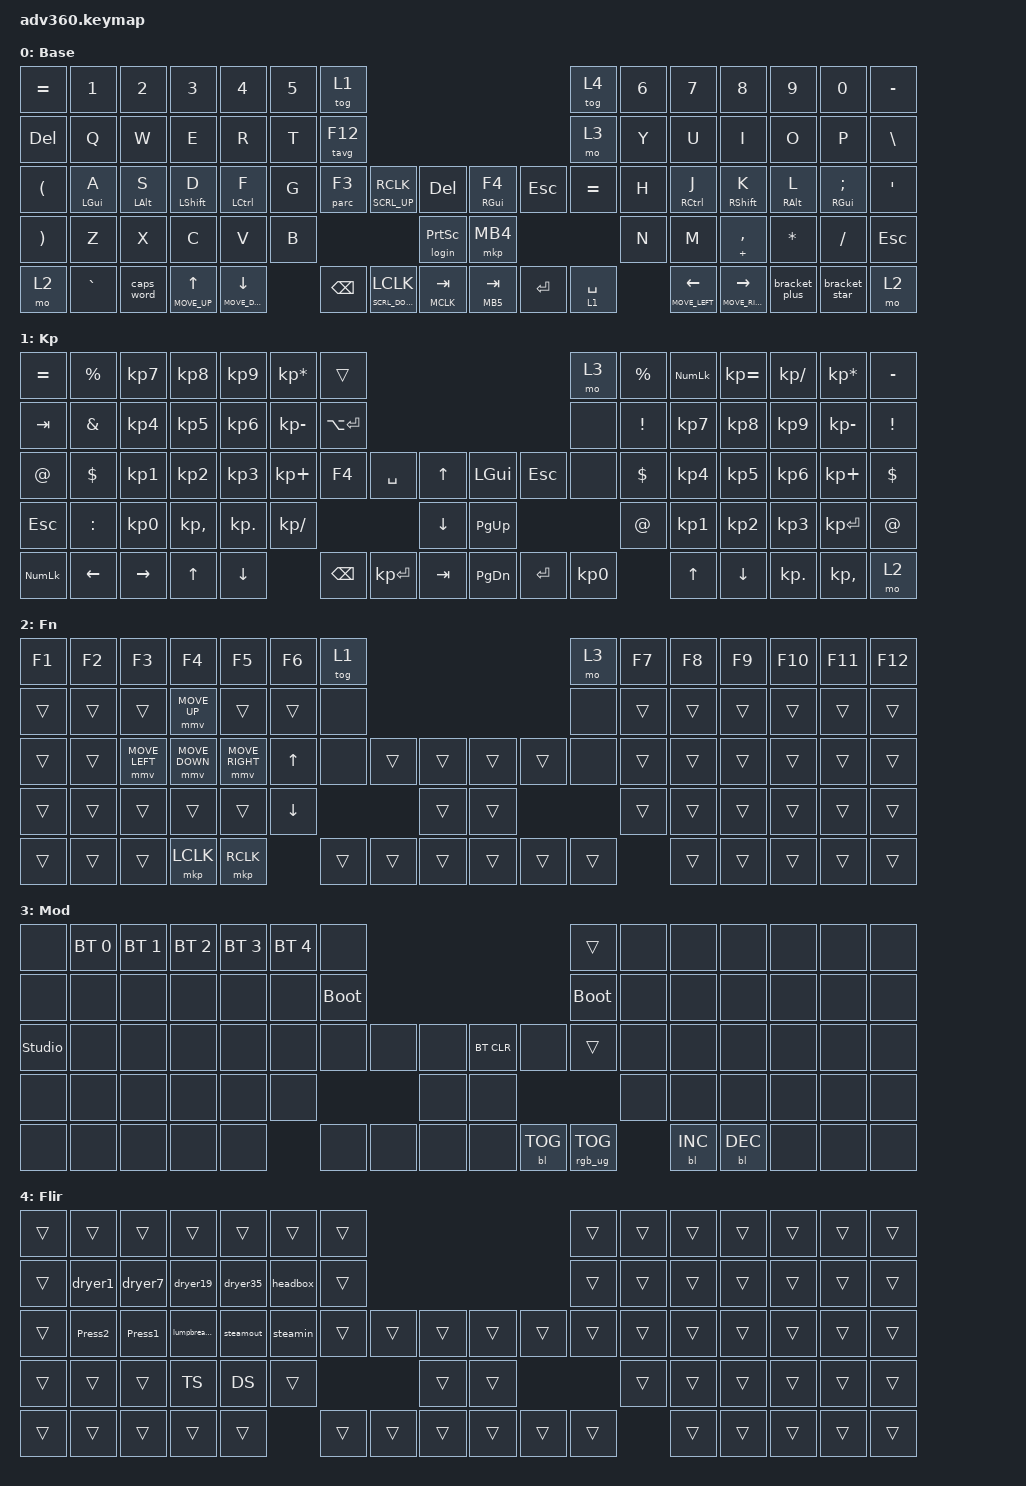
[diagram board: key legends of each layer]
#include <dt-bindings/zmk/stp.h>
#include <behaviors.dtsi>
#include <dt-bindings/zmk/backlight.h>
#include <dt-bindings/zmk/bt.h>
#include <dt-bindings/zmk/keys.h>
#include <dt-bindings/zmk/pointing.h>
#include <dt-bindings/zmk/rgb.h>

/ {
    macros {
        login: login {
            compatible = "zmk,behavior-macro";
            #binding-cells = <0>;
            bindings = <&kp LA(LC(DELETE))>;
            label = "LOGIN";
        };

        dryerDrives: dryerDrives {
            compatible = "zmk,behavior-macro";
            #binding-cells = <0>;
            bindings = <&kp N3 &kp N2 &kp COMMA &kp SPACE &kp N3 &kp N3 &kp COMMA &kp SPACE &kp N3 &kp N4 &kp COMMA &kp SPACE &kp N3 &kp N5>;
            label = "DRYERDRIVES";
        };

        wetEnd: wetEnd {
            compatible = "zmk,behavior-macro";
            #binding-cells = <0>;
            bindings = <&kp N3 &kp COMMA &kp SPACE &kp N4 &kp COMMA &kp SPACE &kp N5 &kp COMMA &kp SPACE &kp N1 &kp N0>;
            label = "WETEND";
        };

        ropeSheave: ropeSheave {
            compatible = "zmk,behavior-macro";
            #binding-cells = <0>;
            bindings = <&kp N1 &kp N0 &kp COMMA &kp SPACE &kp N2 &kp N0 &kp COMMA &kp SPACE &kp N3>;
            label = "ROPESHEAVE";
        };

        lube: lube {
            compatible = "zmk,behavior-macro";
            #binding-cells = <0>;
            bindings = <&kp N3 &kp COMMA &kp SPACE &kp N1 &kp N0 &kp COMMA &kp SPACE &kp N2 &kp N0>;
            label = "LUBE";
        };

        parc: parc {
            compatible = "zmk,behavior-macro";
            #binding-cells = <0>;
            bindings = <&kp F &kp I &kp L &kp DOT &kp P &kp I &kp DOT &kp M &kp N2 &kp COLON>;
            label = "PARC";
        };

        tavg: tavg {
            compatible = "zmk,behavior-macro";
            #binding-cells = <0>;
            bindings = <&kp T &kp A &kp V &kp G &kp EQUAL &kp N1 &kp N5 &kp M>;
            label = "TAVG";
        };

        TS: TS {
            compatible = "zmk,behavior-macro";
            #binding-cells = <0>;
            bindings = <&kp LS(T) &kp LS(S)>;
            label = "TS";
        };

        DS: DS {
            compatible = "zmk,behavior-macro";
            #binding-cells = <0>;
            bindings = <&kp LS(D) &kp LS(S)>;
            label = "DS";
        };

        Press1: Press1 {
            compatible = "zmk,behavior-macro";
            #binding-cells = <0>;
            bindings = <&kp N1 &kp S &kp T &kp SPACE &kp LS(P) &kp R &kp E &kp S &kp S &kp SPACE>;
            label = "PRESS1";
        };

        Press2: Press2 {
            compatible = "zmk,behavior-macro";
            #binding-cells = <0>;
            bindings = <&kp N2 &kp N &kp D &kp SPACE &kp LS(P) &kp R &kp E &kp S &kp S &kp SPACE>;
            label = "PRESS2";
        };

        lumpbreaker: lumpbreaker {
            compatible = "zmk,behavior-macro";
            #binding-cells = <0>;
            bindings = <&kp LS(L) &kp U &kp M &kp P &kp SPACE &kp LS(B) &kp R &kp E &kp A &kp K &kp E &kp R &kp SPACE>;
            label = "LUMPBREAKER";
        };

        steamin: steamin {
            compatible = "zmk,behavior-macro";
            #binding-cells = <0>;
            bindings = <&kp LS(S) &kp T &kp E &kp A &kp M &kp SPACE &kp LS(B) &kp O &kp X &kp SPACE &kp LS(I) &kp N &kp SPACE>;
            label = "STEAMIN";
        };

        steamout: steamout {
            compatible = "zmk,behavior-macro";
            #binding-cells = <0>;
            bindings = <&kp LS(S) &kp T &kp E &kp A &kp M &kp SPACE &kp LS(B) &kp O &kp X &kp SPACE &kp LS(O) &kp U &kp T &kp SPACE>;
            label = "STEAMOUT";
        };

        headbox: headbox {
            compatible = "zmk,behavior-macro";
            #binding-cells = <0>;
            bindings = <&kp LS(H) &kp E &kp A &kp D &kp SPACE &kp LS(B) &kp O &kp X &kp SPACE>;
            label = "HEADBOX";
        };

        dryer1: dryer1 {
            compatible = "zmk,behavior-macro";
            #binding-cells = <0>;
            bindings = <&kp LS(D) &kp R &kp Y &kp E &kp R &kp SPACE &kp LS(C) &kp A &kp N &kp SPACE &kp POUND &kp N1 &kp SPACE &kp F &kp R &kp O &kp M &kp SPACE &kp LS(T) &kp LS(S)>;
            label = "DRYER1";
        };

        dryer7: dryer7 {
            compatible = "zmk,behavior-macro";
            #binding-cells = <0>;
            bindings = <&kp LS(D) &kp R &kp Y &kp E &kp R &kp SPACE &kp LS(C) &kp A &kp N &kp SPACE &kp POUND &kp N7 &kp SPACE &kp F &kp R &kp O &kp M &kp SPACE &kp LS(T) &kp LS(S)>;
            label = "DRYER7";
        };

        dryer19: dryer19 {
            compatible = "zmk,behavior-macro";
            #binding-cells = <0>;
            bindings = <&kp LS(D) &kp R &kp Y &kp E &kp R &kp SPACE &kp LS(C) &kp A &kp N &kp SPACE &kp POUND &kp N1 &kp N9 &kp SPACE &kp F &kp R &kp O &kp M &kp SPACE &kp LS(T) &kp LS(S)>;
            label = "DRYER19";
        };

        dryer35: dryer35 {
            compatible = "zmk,behavior-macro";
            #binding-cells = <0>;
            bindings = <&kp LS(D) &kp R &kp Y &kp E &kp R &kp SPACE &kp LS(C) &kp A &kp N &kp SPACE &kp POUND &kp N3 &kp N5 &kp SPACE &kp F &kp R &kp O &kp M &kp SPACE &kp LS(D) &kp LS(S)>;
            label = "DRYER35";
        };
    };

    behaviors {
        #include "macros.dtsi"
          #include "version.dtsi"

        hm: homerow_mods {
            compatible = "zmk,behavior-hold-tap";
            label = "HOMEROW_MODS";
            #binding-cells = <2>;
            tapping-term-ms = <200>;
            quick_tap_ms = <175>;
            flavor = "tap-preferred";
            bindings = <&kp>, <&kp>;
        };

        holdlogin: holdlogin {
            compatible = "zmk,behavior-hold-tap";
            label = "HOLDLOGIN";
            bindings = <&login>, <&kp>;

            #binding-cells = <2>;
            tapping-term-ms = <200>;
        };

        msmv: moused_mv_kp {
            compatible = "zmk,behavior-hold-tap";
            label = "mouse_mv_kp";
            bindings = <&mmv>, <&kp>;

            #binding-cells = <2>;
            tapping-term-ms = <250>;
        };

        msscrl: msscrl {
            compatible = "zmk,behavior-hold-tap";
            label = "MSSCRL";
            bindings = <&msc>, <&mkp>;

            #binding-cells = <2>;
            tapping-term-ms = <250>;
        };

        holdtavg: holdtavg {
            compatible = "zmk,behavior-hold-tap";
            label = "HOLDTAVG";
            bindings = <&tavg>, <&kp>;

            #binding-cells = <2>;
            tapping-term-ms = <250>;
        };

        holdparc: holdparc {
            compatible = "zmk,behavior-hold-tap";
            label = "HOLDPARC";
            bindings = <&parc>, <&kp>;

            #binding-cells = <2>;
            tapping-term-ms = <250>;
        };

        mskp: mouse_kp {
            compatible = "zmk,behavior-hold-tap";
            label = "Mouse_kp";
            bindings = <&mkp>, <&kp>;

            #binding-cells = <2>;
            tapping-term-ms = <250>;
        };

        bracket_plus: bracket_plus {
            compatible = "zmk,behavior-mod-morph";
            label = "BRACKET_PLUS";
            bindings = <&kp LEFT_BRACKET>, <&kp PLUS>;

            #binding-cells = <0>;
            mods = <(MOD_LCTL)>;
        };

        bracket_star: bracket_star {
            compatible = "zmk,behavior-mod-morph";
            label = "BRACKET_STAR";
            bindings = <&kp RIGHT_BRACKET>, <&kp STAR>;

            #binding-cells = <0>;
            mods = <(MOD_LCTL)>;
        };
    };

    keymap {
        compatible = "zmk,keymap";

        default_layer {
            display-name = "Base";
            bindings = <
&kp EQUAL              &kp N1          &kp N2          &kp N3                  &kp N4                      &kp N5  &tog 1                                                                                               &tog 4       &kp N6  &kp N7                      &kp N8                  &kp N9           &kp N0              &kp MINUS
&kp DELETE             &kp Q           &kp W           &kp E                   &kp R                       &kp T   &holdtavg 0 F12                                                                                      &mo 3        &kp Y   &kp U                       &kp I                   &kp O            &kp P               &kp BSLH
&kp LEFT_PARENTHESIS   &hm LEFT_GUI A  &hm LEFT_ALT S  &hm LEFT_SHIFT D        &hm LEFT_CONTROL F          &kp G   &holdparc 0 F3   &msscrl SCRL_UP RCLK    &kp DELETE                    &hm RIGHT_GUI F4  &kp ESCAPE  &kp EQUAL    &kp H   &hm RIGHT_CONTROL J         &hm RIGHT_SHIFT K       &hm RIGHT_ALT L  &hm RIGHT_GUI SEMI  &kp SQT
&kp RIGHT_PARENTHESIS  &kp Z           &kp X           &kp C                   &kp V                       &kp B                                            &holdlogin 0 PRINTSCREEN      &mkp MB4                                   &kp N   &kp M                       &hm PLUS COMMA          &kp STAR         &kp FSLH            &kp ESCAPE
&mo 2                  &kp GRAVE       &caps_word      &msmv MOVE_UP UP_ARROW  &msmv MOVE_DOWN DOWN_ARROW          &kp BACKSPACE    &msscrl SCRL_DOWN LCLK  &mskp MCLK TAB                &mskp MB5 TAB     &kp ENTER   &lt 1 SPACE          &msmv MOVE_LEFT LEFT_ARROW  &msmv MOVE_RIGHT RIGHT  &bracket_plus    &bracket_star       &mo 2
            >;
        };

        keypad {
            display-name = "Kp";
            bindings = <
&kp EQUAL       &kp PERCENT     &kp KP_N7        &kp KP_N8     &kp KP_NUMBER_9  &kp KP_MULTIPLY  &trans                                                                  &mo 3      &kp PERCENT      &kp KP_NUM  &kp KP_EQUAL  &kp KP_DIVIDE  &kp KP_MULTIPLY  &kp MINUS
&kp TAB         &kp AMPERSAND   &kp KP_NUMBER_4  &kp KP_N5     &kp KP_N6        &kp KP_MINUS     &kp LA(ENTER)                                                           &none      &kp EXCLAMATION  &kp KP_N7   &kp KP_N8     &kp KP_N9      &kp KP_MINUS     &kp EXCL
&kp AT_SIGN     &kp DOLLAR      &kp KP_N1        &kp KP_N2     &kp KP_N3        &kp KP_PLUS      &kp F4         &kp SPACE     &kp UP_ARROW        &kp LGUI   &kp ESCAPE  &none      &kp DOLLAR       &kp KP_N4   &kp KP_N5     &kp KP_N6      &kp KP_PLUS      &kp DOLLAR
&kp ESC         &kp COLON       &kp KP_N0        &kp KP_COMMA  &kp KP_DOT       &kp KP_SLASH                                  &kp DOWN_ARROW      &kp PG_UP                         &kp AT_SIGN      &kp KP_N1   &kp KP_N2     &kp KP_N3      &kp KP_ENTER     &kp AT
&kp KP_NUMLOCK  &kp LEFT_ARROW  &kp RIGHT_ARROW  &kp UP_ARROW  &kp DOWN                          &kp BSPC       &kp KP_ENTER  &kp TAB             &kp PG_DN  &kp ENTER   &kp KP_N0                   &kp UP      &kp DOWN      &kp KP_DOT     &kp KP_COMMA     &mo 2
            >;
        };

        fn {
            display-name = "Fn";
            bindings = <
&kp F1  &kp F2  &kp F3          &kp F4          &kp F5           &kp F6    &tog 1                                      &mo 3   &kp F7  &kp F8  &kp F9  &kp F10  &kp F11  &kp F12
&trans  &trans  &trans          &mmv MOVE_UP    &trans           &trans    &none                                       &none   &trans  &trans  &trans  &trans   &trans   &trans
&trans  &trans  &mmv MOVE_LEFT  &mmv MOVE_DOWN  &mmv MOVE_RIGHT  &kp UP    &none   &trans  &trans      &trans  &trans  &none   &trans  &trans  &trans  &trans   &trans   &trans
&trans  &trans  &trans          &trans          &trans           &kp DOWN                  &trans      &trans                  &trans  &trans  &trans  &trans   &trans   &trans
&trans  &trans  &trans          &mkp LCLK       &mkp RCLK                  &trans  &trans  &trans      &trans  &trans  &trans          &trans  &trans  &trans   &trans   &trans
            >;
        };

        mod {
            display-name = "Mod";
            bindings = <
&none           &bt BT_SEL 0  &bt BT_SEL 1  &bt BT_SEL 2  &bt BT_SEL 3  &bt BT_SEL 4  &none                                                  &trans           &none  &none       &none       &none  &none  &none
&none           &none         &none         &none         &none         &none         &bootloader                                            &bootloader      &none  &none       &none       &none  &none  &none
&studio_unlock  &none         &none         &none         &none         &none         &none        &none  &none      &bt BT_CLR  &none       &trans           &none  &none       &none       &none  &none  &none
&none           &none         &none         &none         &none         &none                             &none      &none                                    &none  &none       &none       &none  &none  &none
&none           &none         &none         &none         &none                       &none        &none  &none      &none       &bl BL_TOG  &rgb_ug RGB_TOG         &bl BL_INC  &bl BL_DEC  &none  &none  &none
            >;
        };

        Flir {
            bindings = <
&trans  &trans   &trans   &trans        &trans     &trans    &trans                                      &trans  &trans  &trans  &trans  &trans  &trans  &trans
&trans  &dryer1  &dryer7  &dryer19      &dryer35   &headbox  &trans                                      &trans  &trans  &trans  &trans  &trans  &trans  &trans
&trans  &Press2  &Press1  &lumpbreaker  &steamout  &steamin  &trans  &trans  &trans      &trans  &trans  &trans  &trans  &trans  &trans  &trans  &trans  &trans
&trans  &trans   &trans   &TS           &DS        &trans                    &trans      &trans                  &trans  &trans  &trans  &trans  &trans  &trans
&trans  &trans   &trans   &trans        &trans               &trans  &trans  &trans      &trans  &trans  &trans          &trans  &trans  &trans  &trans  &trans
            >;
        };
    };
};
